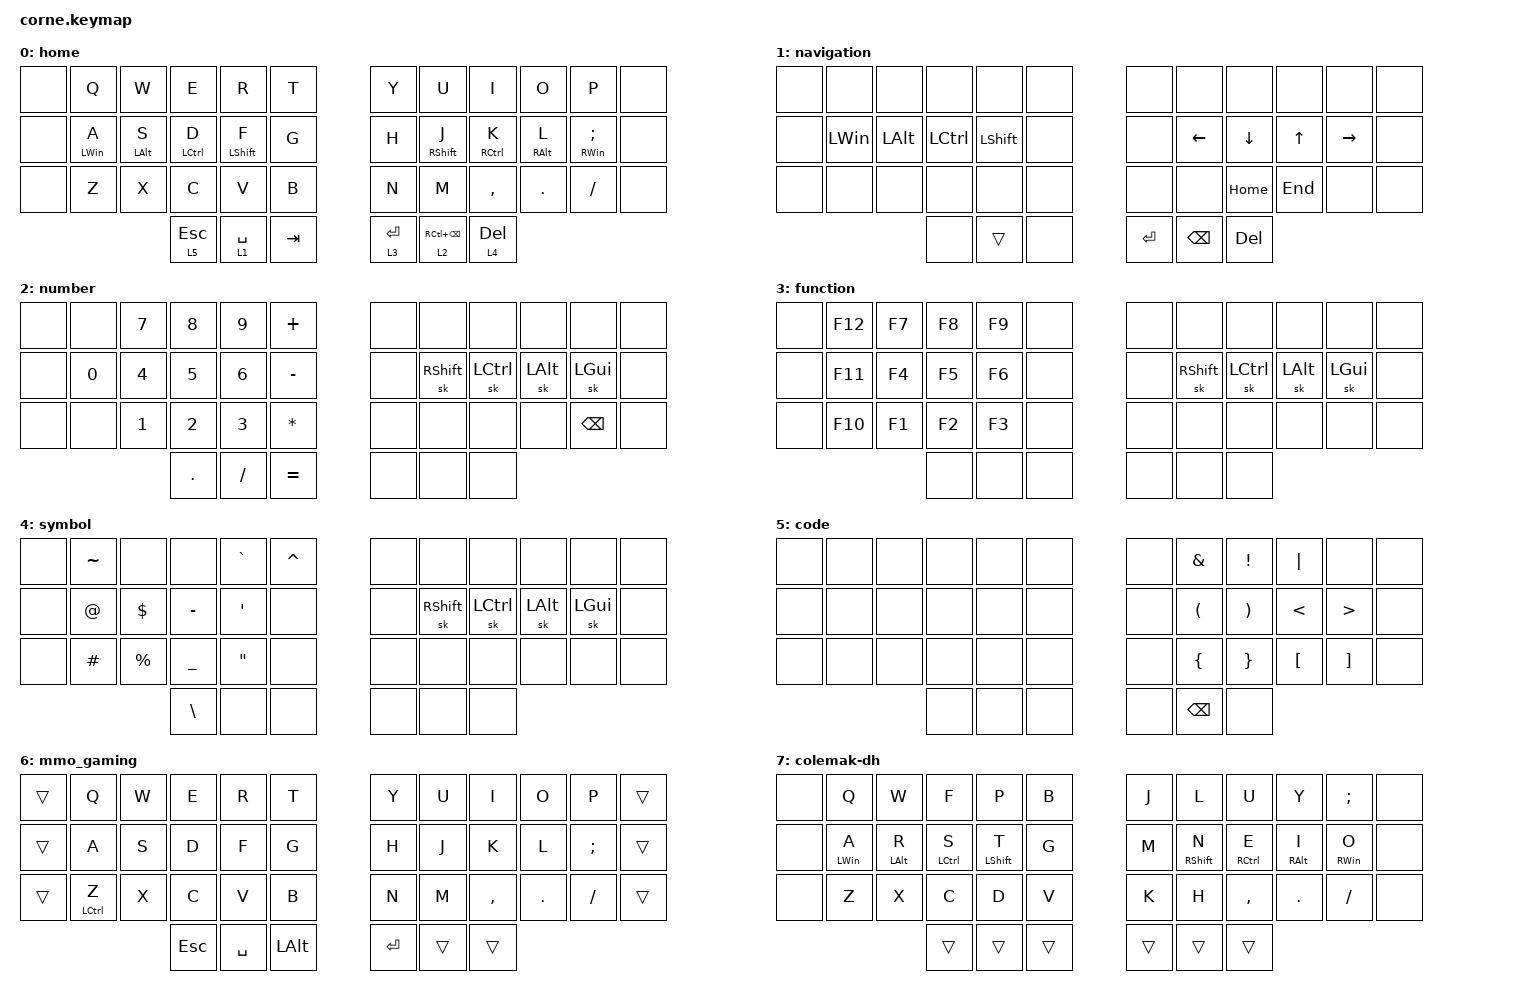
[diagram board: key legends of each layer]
/*
* Copyright (c) 2020 The ZMK Contributors
*
* SPDX-License-Identifier: MIT
*/

#include <behaviors.dtsi>
#include <dt-bindings/zmk/keys.h>

&mt {
    tapping-term-ms = <250>;
    quick-tap-ms = <110>;
    flavor = "balanced";
};

/ {
    combos {
        compatible = "zmk,combos";

        cut {
            bindings = <&kp LC(X)>;
            key-positions = <25 26>;
            layers = <0>;
        };

        copy {
            bindings = <&kp LC(C)>;
            key-positions = <26 27>;
            layers = <0>;
        };

        paste {
            bindings = <&kp LC(V)>;
            key-positions = <27 28>;
            layers = <0>;
        };

        game_mode {
            bindings = <&tog 6>;
            key-positions = <36 37 38 39 40 41>;
        };

        mmo_game_mode_n7 {
            bindings = <&kp N7>;
            key-positions = <1 2>;
            layers = <6>;
        };

        mmo_game_mode_n8 {
            bindings = <&kp N8>;
            key-positions = <2 3>;
            layers = <6>;
        };

        mmo_game_mode_n9 {
            bindings = <&kp N9>;
            key-positions = <3 4>;
            layers = <6>;
        };

        mmo_game_mode_n4 {
            bindings = <&kp NUMBER_4>;
            key-positions = <13 14>;
            layers = <6>;
        };

        mmo_game_mode_n5 {
            bindings = <&kp NUMBER_5>;
            key-positions = <14 15>;
            layers = <6>;
        };

        mmo_game_mode_n6 {
            bindings = <&kp NUMBER_6>;
            key-positions = <15 16>;
            layers = <6>;
        };

        mmo_game_mode_n1 {
            bindings = <&kp NUMBER_1>;
            key-positions = <25 26>;
            layers = <6>;
        };

        mmo_game_mode_n2 {
            bindings = <&kp NUMBER_2>;
            key-positions = <26 27>;
            layers = <6>;
        };

        mmo_game_mode_n3 {
            bindings = <&kp NUMBER_3>;
            key-positions = <27 28>;
            layers = <6>;
        };

        colemak_dh_layer {
            bindings = <&tog 7>;
            key-positions = <1 2 3 4 10 9 8 7>;
        };

        task_view {
            bindings = <&kp LC(LA(TAB))>;
            key-positions = <4 5>;
            layers = <0>;
        };
    };

    keymap {
        compatible = "zmk,keymap";

        home {
            // -----------------------------------------------------------------------------------------
            // |  TAB |  Q  |  W  |  E  |  R  |  T  |   |  Y  |  U   |  I  |  O  |  P  | BKSP |
            // | CTRL |  A  |  S  |  D  |  F  |  G  |   |  H  |  J   |  K  |  L  |  ;  |  '   |
            // | SHFT |  Z  |  X  |  C  |  V  |  B  |   |  N  |  M   |  ,  |  .  |  /  | ESC  |
            //                    | GUI | LWR | SPC |   | ENT | RSE  | ALT |

            bindings = <
&none  &kp Q           &kp W       &kp E        &kp R         &kp T      &kp Y        &kp U                &kp I         &kp O            &kp P                    &none
&none  &mt LEFT_WIN A  &mt LALT S  &mt LCTRL D  &mt LSHIFT F  &kp G      &kp H        &mt RSHIFT J         &mt RCTRL K   &mt RIGHT_ALT L  &mt RIGHT_WIN SEMICOLON  &none
&none  &kp Z           &kp X       &kp C        &kp V         &kp B      &kp N        &kp M                &kp COMMA     &kp DOT          &kp FSLH                 &none
                                   &lt 5 ESC    &lt 1 SPACE   &kp TAB    &lt 3 ENTER  &lt 2 RC(BACKSPACE)  &lt 4 DELETE
            >;
        };

        navigation {
            // -----------------------------------------------------------------------------------------
            // |  TAB |  1  |  2  |  3  |  4  |  5  |   |  6  |  7  |  8  |  9  |  0  | BKSP |
            // | BTCLR| BT1 | BT2 | BT3 | BT4 | BT5 |   | LFT | DWN |  UP | RGT |     |      |
            // | SHFT |     |     |     |     |     |   |     |     |     |     |     |      |
            //                    | GUI |     | SPC |   | ENT |     | ALT |

            bindings = <
&none  &none         &none     &none      &none       &none    &none    &none     &none     &none    &none      &none
&none  &kp LEFT_WIN  &kp LALT  &kp LCTRL  &kp LSHIFT  &none    &none    &kp LEFT  &kp DOWN  &kp UP   &kp RIGHT  &none
&none  &none         &none     &none      &none       &none    &none    &none     &kp HOME  &kp END  &none      &none
                               &none      &trans      &none    &kp RET  &kp BSPC  &kp DEL
            >;
        };

        number {
            bindings = <
&none  &none   &kp N7  &kp N8   &kp N9    &kp PLUS     &none  &none      &none      &none     &none          &none
&none  &kp N0  &kp N4  &kp N5   &kp N6    &kp MINUS    &none  &sk RSHFT  &sk LCTRL  &sk LALT  &sk LGUI       &none
&none  &none   &kp N1  &kp N2   &kp N3    &kp STAR     &none  &none      &none      &none     &kp BACKSPACE  &none
                       &kp DOT  &kp FSLH  &kp EQUAL    &none  &none      &none
            >;
        };

        function {
            bindings = <
&none  &kp F12  &kp F7  &kp F8  &kp F9  &none    &none  &none      &none      &none     &none     &none
&none  &kp F11  &kp F4  &kp F5  &kp F6  &none    &none  &sk RSHFT  &sk LCTRL  &sk LALT  &sk LGUI  &none
&none  &kp F10  &kp F1  &kp F2  &kp F3  &none    &none  &none      &none      &none     &none     &none
                        &none   &none   &none    &none  &none      &none
            >;
        };

        symbol {
            bindings = <
&none  &kp TILDE  &none      &none      &kp GRAVE  &kp CARET    &none  &none      &none      &none     &none     &none
&none  &kp AT     &kp DLLR   &kp MINUS  &kp SQT    &none        &none  &sk RSHFT  &sk LCTRL  &sk LALT  &sk LGUI  &none
&none  &kp HASH   &kp PRCNT  &kp UNDER  &kp DQT    &none        &none  &none      &none      &none     &none     &none
                             &kp BSLH   &none      &none        &none  &none      &none
            >;
        };

        code {
            bindings = <
&none  &none  &none  &none  &none  &none    &none  &kp AMPS  &kp EXCL  &kp PIPE  &none     &none
&none  &none  &none  &none  &none  &none    &none  &kp LPAR  &kp RPAR  &kp LT    &kp GT    &none
&none  &none  &none  &none  &none  &none    &none  &kp LBRC  &kp RBRC  &kp LBKT  &kp RBKT  &none
                     &none  &none  &none    &none  &kp BSPC  &none
            >;
        };

        mmo_gaming {
            bindings = <
&trans  &kp Q        &kp W  &kp E       &kp R      &kp T           &kp Y      &kp U   &kp I      &kp O    &kp P     &trans
&trans  &kp A        &kp S  &kp D       &kp F      &kp G           &kp H      &kp J   &kp K      &kp L    &kp SEMI  &trans
&trans  &mt LCTRL Z  &kp X  &kp C       &kp V      &kp B           &kp N      &kp M   &kp COMMA  &kp DOT  &kp FSLH  &trans
                            &kp ESCAPE  &kp SPACE  &kp LEFT_ALT    &kp ENTER  &trans  &trans
            >;
        };

        colemak-dh {
            bindings = <
&none  &kp Q           &kp W           &kp F        &kp P             &kp B     &kp J   &kp L              &kp U        &kp Y            &kp SEMI         &none
&none  &mt LEFT_WIN A  &mt LEFT_ALT R  &mt LCTRL S  &mt LEFT_SHIFT T  &kp G     &kp M   &mt RIGHT_SHIFT N  &mt RCTRL E  &mt RIGHT_ALT I  &mt RIGHT_WIN O  &none
&none  &kp Z           &kp X           &kp C        &kp D             &kp V     &kp K   &kp H              &kp COMMA    &kp DOT          &kp FSLH         &none
                                       &trans       &trans            &trans    &trans  &trans             &trans
            >;
        };
    };
};
